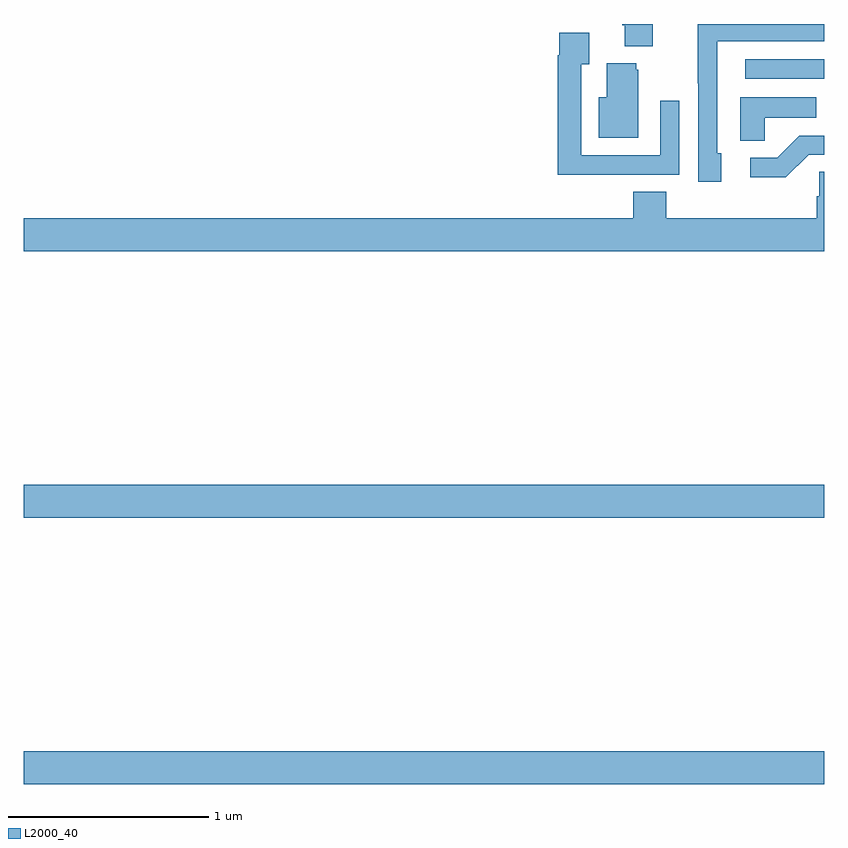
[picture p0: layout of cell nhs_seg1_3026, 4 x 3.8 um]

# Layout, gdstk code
import gdstk
lib = gdstk.Library(unit=1e-6, precision=1e-09)
def R(c, l, rs):  # rectangles x0, y0, x1, y1
    for r in rs: c.add(gdstk.rectangle(r[:2], r[2:], *l))
def P(c, l, *ps):  # polygons
    for p in ps: c.add(gdstk.Polygon(p, *l))
L2000_40 = (2000, 40)

nhs_seg1_3026 = lib.new_cell('nhs_seg1_3026')
R(nhs_seg1_3026, L2000_40, [(275,550.4,279,550.564), (275,551.732,279,551.896), (278.607,553.926,279,554.022)])
P(nhs_seg1_3026, L2000_40, [(278.143,554.199),(277.991,554.199),(277.991,554.194),(278.003,554.194),(278.003,554.087),(278.143,554.087)],
  [(278.485,553.554),(278.466,553.554),(278.466,554.112),(279,554.112),(279,554.199),(278.368,554.199),(278.368,553.903),(278.37,553.903),(278.37,553.41),(278.485,553.41)],
  [(277.961,553.446),(278.277,553.446),(278.277,553.816),(278.181,553.816),(278.181,553.542),(277.785,553.542),(277.785,553.999),(277.825,553.999),(277.825,554.155),(277.677,554.155),(277.677,554.042),(277.669,554.042),(277.669,553.445),(277.961,553.445)],
  [(278.071,553.971),(278.06,553.971),(278.06,554.002),(277.913,554.002),(277.913,553.834),(277.874,553.834),(277.874,553.631),(278.071,553.631)],
  [(278.703,553.73),(278.96,553.73),(278.96,553.834),(278.582,553.834),(278.582,553.615),(278.703,553.615)],
  [(278.922,553.545),(279,553.545),(279,553.641),(278.876,553.641),(278.765,553.53),(278.631,553.53),(278.631,553.433),(278.809,553.433)],
  [(279,553.46),(278.976,553.46),(278.976,553.337),(278.963,553.337),(278.963,553.228),(278.21,553.228),(278.21,553.361),(278.045,553.361),(278.045,553.228),(275,553.228),(275,553.064),(279,553.064)])

lib.write_gds('nhs_seg1_3026.gds')
